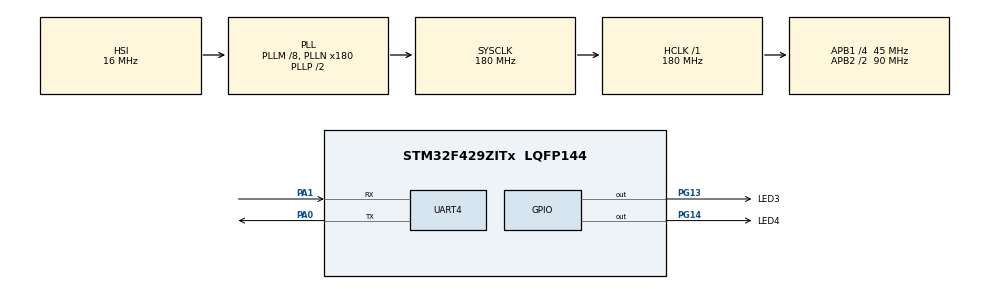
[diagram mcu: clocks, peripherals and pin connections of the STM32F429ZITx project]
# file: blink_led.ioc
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FREERTOS.Tasks01=defaultTask,24,128,StartDefaultTask,Default,NULL,Dynamic,NULL,NULL
FREERTOS.configUSE_STATS_FORMATTING_FUNCTIONS=1
Mcu.Family=STM32F4
Mcu.Name=STM32F429ZITx
Mcu.Package=LQFP144
NVIC.PriorityGroup=NVIC_PRIORITYGROUP_4
NVIC.UART4_IRQn=true\:5\:0\:false\:false\:true\:true\:true\:true
PA0/WKUP.Mode=Asynchronous
PA0/WKUP.Signal=UART4_TX
PA1.Mode=Asynchronous
PA1.Signal=UART4_RX
PG13.GPIO_Label=LED3
PG13.Signal=GPIO_Output
PG14.GPIO_Label=LED4
PG14.Signal=GPIO_Output
ProjectManager.HeapSize=0x200
ProjectManager.StackSize=0x400
ProjectManager.TargetToolchain=Makefile
RCC.48MHZClocksFreq_Value=90000000
RCC.AHBFreq_Value=180000000
RCC.APB1CLKDivider=RCC_HCLK_DIV4
RCC.APB1Freq_Value=45000000
RCC.APB1TimFreq_Value=90000000
RCC.APB2CLKDivider=RCC_HCLK_DIV2
RCC.APB2Freq_Value=90000000
RCC.APB2TimFreq_Value=180000000
RCC.CortexFreq_Value=180000000
RCC.HCLKFreq_Value=180000000
RCC.HSE_VALUE=25000000
RCC.HSI_VALUE=16000000
RCC.LSE_VALUE=32768
RCC.PLLM=8
RCC.PLLN=180
RCC.SYSCLKFreq_VALUE=180000000
RCC.SYSCLKSource=RCC_SYSCLKSOURCE_PLLCLK
RCC.VCOOutputFreq_Value=360000000
UART4.VirtualMode=Asynchronous
VP_FREERTOS_VS_CMSIS_V2.Mode=CMSIS_V2
board=custom

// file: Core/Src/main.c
/* USER CODE BEGIN Header */
/**
  ******************************************************************************
  * @file           : main.c
  * @brief          : Main program body
  ******************************************************************************
  * @attention
  *
  * Copyright (c) 2022 STMicroelectronics.
  * All rights reserved.
  *
  * This software is licensed under terms that can be found in the LICENSE file
  * in the root directory of this software component.
  * If no LICENSE file comes with this software, it is provided AS-IS.
  *
  ******************************************************************************
  */
/* USER CODE END Header */
#include "main.h"
#include "cmsis_os.h"
#include "usart.h"
#include "gpio.h"

/* USER CODE BEGIN Includes */
#include "stdio.h"

/* USER CODE END Includes */

void SystemClock_Config(void);
void MX_FREERTOS_Init(void);

/* USER CODE BEGIN 0 */
#ifdef __GNUC__
/* With GCC, small printf (option LD Linker->Libraries->Small printf
   set to 'Yes') calls __io_putchar() */
#define PUTCHAR_PROTOTYPE int __io_putchar(int ch)
#else
#define PUTCHAR_PROTOTYPE int fputc(int ch, FILE *f)
#endif /* __GNUC__ */

PUTCHAR_PROTOTYPE {
	HAL_UART_Transmit(&huart4, (uint8_t *)&ch, 1, 0xFFFF);
	return ch;
}

int _write(int file, char *ptr, int len)
{
    /* Implement your write code here, this is used by puts and printf for example */
    int i=0;
    for(i=0 ; i<len ; i++)
        // ITM_SendChar((*ptr++));
        __io_putchar(*ptr++);
    return len;
}
/* USER CODE END 0 */

int main(void)
{

  /* MCU Configuration--------------------------------------------------------*/

  /* Reset of all peripherals, Initializes the Flash interface and the Systick. */
  HAL_Init();

  /* Configure the system clock */
  SystemClock_Config();

  /* Initialize all configured peripherals */
  MX_GPIO_Init();
  MX_UART4_Init();

  /* Init scheduler */
  osKernelInitialize();  /* Call init function for freertos objects (in freertos.c) */
  MX_FREERTOS_Init();
  /* Start scheduler */
  osKernelStart();

  /* We should never get here as control is now taken by the scheduler */
  /* Infinite loop */
  while (1)
  {

    /* USER CODE BEGIN 3 */
      HAL_Delay(1000);
      static uint32_t count = 0;
      printf("LED has been toggled count: %ld \r\n", count++);
      printf("Hello");
      HAL_GPIO_TogglePin(GPIOG, LED3_Pin); // Toggle LD3, and LD4
	    HAL_GPIO_TogglePin(GPIOG, LED4_Pin);
  }
  /* USER CODE END 3 */
}

void SystemClock_Config(void)
{
  RCC_OscInitTypeDef RCC_OscInitStruct = {0};
  RCC_ClkInitTypeDef RCC_ClkInitStruct = {0};

  /** Configure the main internal regulator output voltage
  */
  __HAL_RCC_PWR_CLK_ENABLE();
  __HAL_PWR_VOLTAGESCALING_CONFIG(PWR_REGULATOR_VOLTAGE_SCALE1);
  /** Initializes the RCC Oscillators according to the specified parameters
  * in the RCC_OscInitTypeDef structure.
  */
  RCC_OscInitStruct.OscillatorType = RCC_OSCILLATORTYPE_HSI;
  RCC_OscInitStruct.HSIState = RCC_HSI_ON;
  RCC_OscInitStruct.HSICalibrationValue = RCC_HSICALIBRATION_DEFAULT;
  RCC_OscInitStruct.PLL.PLLState = RCC_PLL_ON;
  RCC_OscInitStruct.PLL.PLLSource = RCC_PLLSOURCE_HSI;
  RCC_OscInitStruct.PLL.PLLM = 8;
  RCC_OscInitStruct.PLL.PLLN = 180;
  RCC_OscInitStruct.PLL.PLLP = RCC_PLLP_DIV2;
  RCC_OscInitStruct.PLL.PLLQ = 4;
  if (HAL_RCC_OscConfig(&RCC_OscInitStruct) != HAL_OK)
  {
    Error_Handler();
  }
  /** Activate the Over-Drive mode
  */
  if (HAL_PWREx_EnableOverDrive() != HAL_OK)
  {
    Error_Handler();
  }
  /** Initializes the CPU, AHB and APB buses clocks
  */
  RCC_ClkInitStruct.ClockType = RCC_CLOCKTYPE_HCLK|RCC_CLOCKTYPE_SYSCLK
                              |RCC_CLOCKTYPE_PCLK1|RCC_CLOCKTYPE_PCLK2;
  RCC_ClkInitStruct.SYSCLKSource = RCC_SYSCLKSOURCE_PLLCLK;
  RCC_ClkInitStruct.AHBCLKDivider = RCC_SYSCLK_DIV1;
  RCC_ClkInitStruct.APB1CLKDivider = RCC_HCLK_DIV4;
  RCC_ClkInitStruct.APB2CLKDivider = RCC_HCLK_DIV2;

  if (HAL_RCC_ClockConfig(&RCC_ClkInitStruct, FLASH_LATENCY_5) != HAL_OK)
  {
    Error_Handler();
  }
}

void Error_Handler(void)
{
  __disable_irq();
  while (1)
  {
  }
}

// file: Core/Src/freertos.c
/* USER CODE BEGIN Header */
/**
  ******************************************************************************
  * File Name          : freertos.c
  * Description        : Code for freertos applications
  ******************************************************************************
  * @attention
  *
  * Copyright (c) 2022 STMicroelectronics.
  * All rights reserved.
  *
  * This software is licensed under terms that can be found in the LICENSE file
  * in the root directory of this software component.
  * If no LICENSE file comes with this software, it is provided AS-IS.
  *
  ******************************************************************************
  */
/* USER CODE END Header */

#include "FreeRTOS.h"
#include "task.h"
#include "queue.h"
#include "main.h"
#include "cmsis_os.h"

/* USER CODE BEGIN Includes */

#include <stdio.h>
/* USER CODE END Includes */

/* USER CODE BEGIN Variables */

typedef struct qMessageSturct {
    int id;
    char data;
} qMesStruct;

/* USER CODE END Variables */
/* Definitions for defaultTask */
osThreadId_t defaultTaskHandle;
const osThreadAttr_t defaultTask_attributes = {
  .name = "defaultTask",
  .stack_size = 512 * 4,
  .priority = (osPriority_t) osPriorityNormal,
};

/* USER CODE BEGIN FunctionPrototypes */

typedef struct testTaskStruct {
      int testNum;
      char* testChar;
  } xTestTaskStruct;

xTestTaskStruct xTestStruct = {
    10,
    "TestTask"
  };
TaskHandle_t  xsendTaskHandle1;
TaskHandle_t  xsendTaskHandle2;
TaskHandle_t  xrecTaskHandle;
TaskHandle_t  xwriteMailboxTaskHandle;
TaskHandle_t  xreadMailboxTaskHandle1;
TaskHandle_t  xreadMailboxTaskHandle2;

void sendTask1(void * pvParameters);
void sendTask2(void * pvParameters);
void recTask(void * pvParameters);
void writeMailboxTask (void * pvParameters);
void readMailboxTask1(void * pvParameters);
void readMailboxTask2(void * pvParameters);
TaskHandle_t xLedBlinkyHandle1;
TaskHandle_t xLedBlinkyHandle2;
void ledBlinkyTask1(void * pvParameters);
void ledBlinkyTask2(void * pvParameters);
/* USER CODE END FunctionPrototypes */

void StartDefaultTask(void *argument);

void MX_FREERTOS_Init(void); /* (MISRA C 2004 rule 8.1) */

void MX_FREERTOS_Init(void) {

  /* Create the thread(s) */
  /* creation of defaultTask */
  defaultTaskHandle = osThreadNew(StartDefaultTask, NULL, &defaultTask_attributes);

  QueueHandle_t xqueueHandle1;
  xqueueHandle1 = xQueueCreate(5, sizeof(qMesStruct));

  QueueHandle_t xqueueHandle2;
  xqueueHandle2 = xQueueCreate(5, sizeof(qMesStruct));

  QueueHandle_t xMailboxHandle;
  xMailboxHandle = xQueueCreate(1, sizeof(qMesStruct)); // create a mailbox, note: mailbox just has a length of one

  QueueSetHandle_t xqueueSetHandle;
  xqueueSetHandle = xQueueCreateSet(10);

  BaseType_t xQHandle1AddStatus;
  BaseType_t xQHandle2AddStatus;
  xQHandle1AddStatus = xQueueAddToSet(xqueueHandle1, xqueueSetHandle);
  xQHandle2AddStatus = xQueueAddToSet(xqueueHandle2, xqueueSetHandle);

  if (xqueueHandle1 != NULL && xqueueHandle1 != NULL && xqueueSetHandle != NULL && xMailboxHandle != NULL && xQHandle1AddStatus != pdFAIL && xQHandle2AddStatus != pdFAIL) {
      xTaskCreate(sendTask1, "sendTask1", 512, (void *)xqueueHandle1, osPriorityNormal, &xsendTaskHandle1);
      xTaskCreate(sendTask2, "sendTask2", 512, (void *)xqueueHandle2, osPriorityNormal, &xsendTaskHandle2);
      xTaskCreate(recTask, "recTask", 512, (void *)xqueueSetHandle, osPriorityNormal1, &xrecTaskHandle);

      xTaskCreate(writeMailboxTask, "writeMailboxTask", 512, (void *)xMailboxHandle, osPriorityNormal, &xwriteMailboxTaskHandle);
      xTaskCreate(readMailboxTask1, "readMailboxTask1", 512, (void *)xMailboxHandle, osPriorityNormal1, &xreadMailboxTaskHandle1);
      xTaskCreate(readMailboxTask2, "readMailboxTask2", 512, (void *)xMailboxHandle, osPriorityNormal1, &xreadMailboxTaskHandle2);
      printf("Create queue successfully \r\n");
  } else {
      printf("Create queue failed \r\n");
  }
  /* USER CODE BEGIN RTOS_THREADS */
  /* add threads, ... */
  xTaskCreate(ledBlinkyTask1, "ledBlinkyTask1", 1024, (void *)&xTestStruct, osPriorityNormal, &xLedBlinkyHandle1);
  xTaskCreate(ledBlinkyTask2, "ledBlinkyTask2", 1024, (void *)&xTestStruct, osPriorityNormal1, &xLedBlinkyHandle2);

  const char *pcNameToQuery = "ledBlinkyTask1";
  TaskHandle_t xHandle;
  xHandle =  xTaskGetHandle(pcNameToQuery);
  if (xHandle != NULL) {
      printf("There is a task named: %s \r\n", pcNameToQuery);
  } else {
      printf("There is not a task named: %s \r\n", pcNameToQuery);
  }
  /* USER CODE END RTOS_THREADS */

}

void StartDefaultTask(void *argument)
{
  /* USER CODE BEGIN StartDefaultTask */
  /* Infinite loop */
  for(;;)
  {
      osDelay(1000);
      TickType_t tickCountStart = xTaskGetTickCount();
      printf("Current tick count: %ld \r\n", tickCountStart);

      BaseType_t shedulerState = xTaskGetSchedulerState();
      switch (shedulerState) {
          case taskSCHEDULER_SUSPENDED:
              printf("Sheduler state: suspended \r\n");
              break;

          case taskSCHEDULER_NOT_STARTED:
              printf("Sheduler state: not started \r\n");
              break;

          case taskSCHEDULER_RUNNING:
              printf("Sheduler state: running \r\n");
              break;

          default:
            break;
      }

      UBaseType_t ledBlinkyHandle1WaterMark = uxTaskGetStackHighWaterMark(xLedBlinkyHandle1);
      printf("ledBlinkyHandle1 high water mark: %ld \r\n", ledBlinkyHandle1WaterMark);
      UBaseType_t StartDefaultTaskWaterMark = uxTaskGetStackHighWaterMark(NULL);
      printf("StartDefaultTask high water mark: %ld \r\n", StartDefaultTaskWaterMark);

      const char *name = "";
      name = pcTaskGetName(xLedBlinkyHandle1);
      printf("xLedBlinkyHandle1 task get name: %s \r\n", name); // task name string does not more than configMAX_TASK_NAME_LEN
      name = pcTaskGetName(NULL);
      printf("Current task get name: %s \r\n", name);

      TickType_t tickCountEnd = xTaskGetTickCount();
      printf("Current tick count: %ld \r\n", tickCountEnd);
      printf("Running default task spend time: %ld ms \r\n", tickCountEnd - tickCountStart);

      long lReturnedTaskHandle;
      lReturnedTaskHandle = ( long ) xTaskGetApplicationTaskTag(NULL);
      printf("Current task tag: %ld \r\n", lReturnedTaskHandle);
      if (lReturnedTaskHandle == NULL) {
          vTaskSetApplicationTaskTag(NULL, (void *) 1);
      }

      eTaskState ledBlinkyTask2State = eNoAction;
      ledBlinkyTask2State = eTaskGetState(xLedBlinkyHandle2);
      printf("xLedBlinkyHandle2 state: %d \r\n", ledBlinkyTask2State);

      UBaseType_t taskNum = uxTaskGetNumberOfTasks();
      printf("Current task num: %ld \r\n", taskNum);

      static char cBuffer[512] = {0};
      vTaskList(cBuffer);
      printf("---------------------------------------------\r\n");
      printf("Name      State   Priority    Stack    Num\r\n");
      printf("*********************************************\r\n");
      printf("%s", cBuffer);
      printf("*********************************************\r\n");

  }
  /* USER CODE END StartDefaultTask */
}

/* USER CODE BEGIN Application */

void sendTask1(void * pvParameters) {
    QueueHandle_t qSendHandle;
    qSendHandle = (QueueHandle_t)pvParameters;
    BaseType_t xQueueSendStatus;
    qMesStruct qSendUSB = {1, 11};
    while (1) {
        osDelay(2000);
        xQueueSendStatus = xQueueSend(qSendHandle, &qSendUSB, 10);
        if (xQueueSendStatus == pdPASS) {
            printf("Queue sendTask1 qSendUSB.id = %d qSendUSB.data = %d done \r\n", qSendUSB.id, qSendUSB.data);
            qSendUSB.data++;
        } else {
            printf("Queue send fail \r\n");
        }
    }
}

void sendTask2(void * pvParameters) {
    QueueHandle_t qSendHandle;
    qSendHandle = (QueueHandle_t)pvParameters;
    BaseType_t xQueueSendStatus;
    qMesStruct qSendUSB = {2, 22};
    while (1) {
        osDelay(2000);
        xQueueSendStatus = xQueueSend(qSendHandle, &qSendUSB, 10);
        if (xQueueSendStatus == pdPASS) {
            printf("Queue sendTask2 qSendUSB.id = %d qSendUSB.data = %d done \r\n", qSendUSB.id, qSendUSB.data);
            qSendUSB.data++;
        } else {
            printf("Queue send fail \r\n");
        }
    }
}

void recTask(void * pvParameters) {
    BaseType_t xQueueRecStatus;
    QueueSetHandle_t qSetRecHandle;
    qSetRecHandle = (QueueSetHandle_t)pvParameters;
    QueueSetMemberHandle_t qSetDataHandle;
    UBaseType_t uxNumberOfFreeSpaces;
    qMesStruct qRecUSB = {0, 0};
    while (1) {
        qSetDataHandle = xQueueSelectFromSet(qSetRecHandle, portMAX_DELAY);
        uxNumberOfFreeSpaces = uxQueueSpacesAvailable(qSetDataHandle);
        if (qSetDataHandle != NULL) {
            printf("Queue number of free spaces: %ld \r\n", uxNumberOfFreeSpaces);
            xQueueRecStatus = xQueueReceive(qSetDataHandle, &qRecUSB, portMAX_DELAY);
            if (xQueueRecStatus == pdPASS) {
                printf("Queue receive qRecUSB.id = %d qRecUSB.data = %d done \r\n", qRecUSB.id, qRecUSB.data);
            } else {
                printf("Queue receive fail \r\n");
            }
        } else {
            printf("Queue set not become available \r\n");
        }
    }
}

void writeMailboxTask(void * pvParameters) {
    QueueHandle_t qWriteMailboxHandle;
    qWriteMailboxHandle = (QueueHandle_t)pvParameters;
    BaseType_t xWriteStatus;
    qMesStruct qMailboxData = {3, 3};
    while (1) {
        xWriteStatus = xQueueOverwrite(qWriteMailboxHandle, &qMailboxData);
        if(xWriteStatus != pdPASS) {
            printf("Write mail box fail \r\n");
        } else {
            printf("Write mail box data: %d done \r\n", qMailboxData.data);
        }
        qMailboxData.data++;
        osDelay(6000);
    }
}

void readMailboxTask1(void * pvParameters) {
    QueueHandle_t qMailboxReadHandle;
    qMailboxReadHandle = (QueueHandle_t)pvParameters;
    BaseType_t xReadStatus;
    qMesStruct qMailboxData = {0, 0};
    while (1) {
        xReadStatus = xQueuePeek(qMailboxReadHandle, &qMailboxData, portMAX_DELAY);
        if (xReadStatus != pdPASS) {
            printf("Read mail box data fail \r\n");
        } else {
            printf("Read task1 mail box id %d; data: %d \r\n", qMailboxData.id, qMailboxData.data);
        }
        osDelay(3000);
    }
}

void readMailboxTask2(void * pvParameters) {
    QueueHandle_t qMailboxReadHandle;
    qMailboxReadHandle = (QueueHandle_t)pvParameters;
    BaseType_t xReadStatus;
    qMesStruct qMailboxData = {0, 0};
    while (1) {
        xReadStatus = xQueuePeek(qMailboxReadHandle, &qMailboxData, portMAX_DELAY);
        if (xReadStatus != pdPASS) {
            printf("Read task2 mail box data fail \r\n");
        } else {
            printf("Read task2 mail box id %d; data: %d \r\n", qMailboxData.id, qMailboxData.data);
        }
        osDelay(3000);
    }
}

void ledBlinkyTask1(void * pvParameters) {
  /* USER CODE BEGIN StartDefaultTask */
  /* Infinite loop */
  while (1) {
      osDelay(1000);
      printf("--------------------\r\n");
      printf("Task1 wait notification \r\n");
      // ulTaskNotifyTake(pdTRUE, portMAX_DELAY);
      uint32_t ulNotifiedValue;
      xTaskNotifyWait(0x00, /* Don't clear any notification bits on entry. */
                      0xffffffffUL, /* Reset the notification value to 0 on exit. */
                      &ulNotifiedValue, /* Notified value pass out in ulNotifiedValue. */
                      portMAX_DELAY); /* Block indefinitely. */
      /* Process any events that have been latched in the notified value. */
      if( ( ulNotifiedValue & 0x01 ) != 0 ) {
          /* Bit 0 was set - process whichever event is represented by bit 0. */
          printf("Bit 0 was set \r\n");
      } else if( ( ulNotifiedValue & 0x02 ) != 0 ) {
          /* Bit 1 was set - process whichever event is represented by bit 1. */
          printf("Bit 1 was set \r\n");
      } else if( ( ulNotifiedValue & 0x04 ) != 0 ) {
          /* Bit 2 was set - process whichever event is represented by bit 2. */
          printf("Bit 2 was set \r\n");
      }
      HAL_GPIO_TogglePin(GPIOG, LED3_Pin); // Toggle LED3
  }
  /* USER CODE END StartDefaultTask */
}

void ledBlinkyTask2(void * pvParameters) {
  /* USER CODE BEGIN StartDefaultTask */
  /* Infinite loop */
  while (1) {
      osDelay(2000);
	    HAL_GPIO_TogglePin(GPIOG, LED4_Pin); // Toggle LED4
      printf("--------------------\r\n");
      printf("Task2 notify taks1 \r\n");
      // xTaskNotifyGive(xLedBlinkyHandle1);
      // if (xTaskNotify(xLedBlinkyHandle1, 0x02, eSetValueWithOverwrite) == pdPASS) {
      if (xTaskNotifyAndQuery( xLedBlinkyHandle1, ( 1UL << 2UL ), eSetBits, NULL ) == pdPASS) {
          printf("Task2 notify taks1 value was updated \r\n");
      } else {
          printf("Task2 notify taks1 value was not updated \r\n");
      }
  }
  /* USER CODE END StartDefaultTask */
}

/* USER CODE END Application */
